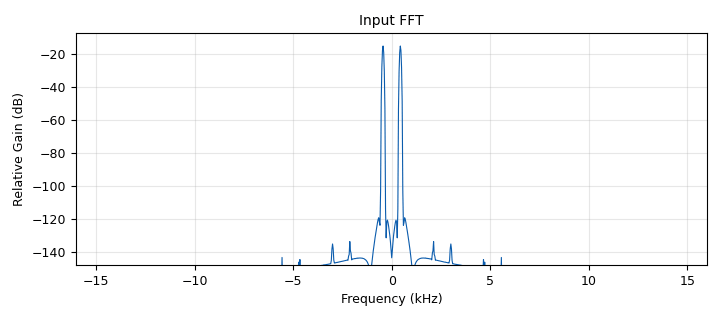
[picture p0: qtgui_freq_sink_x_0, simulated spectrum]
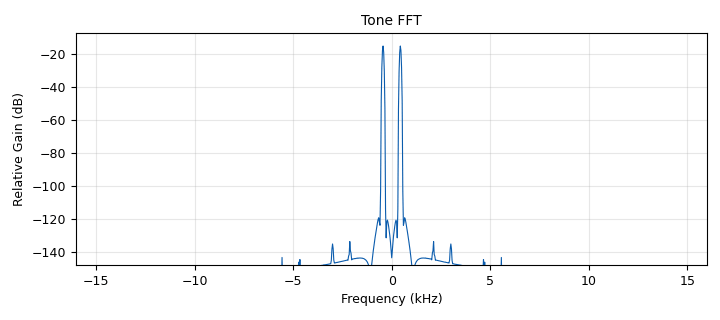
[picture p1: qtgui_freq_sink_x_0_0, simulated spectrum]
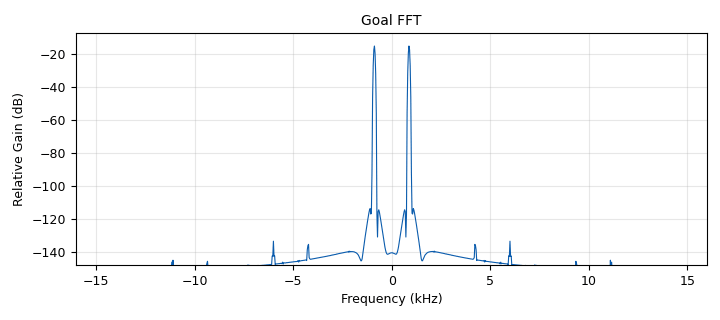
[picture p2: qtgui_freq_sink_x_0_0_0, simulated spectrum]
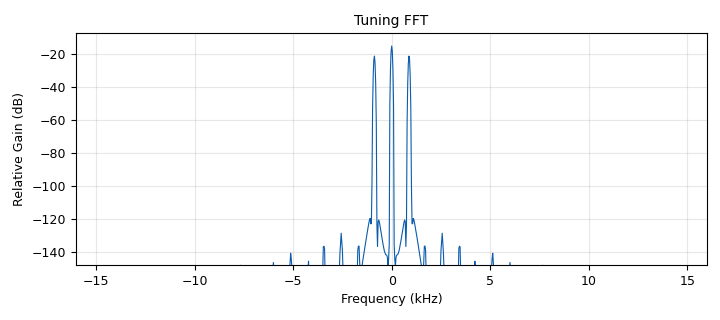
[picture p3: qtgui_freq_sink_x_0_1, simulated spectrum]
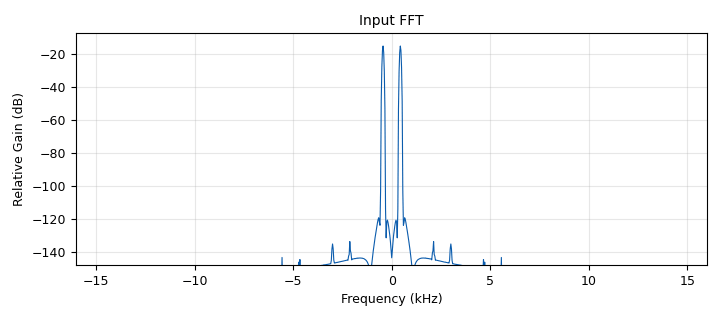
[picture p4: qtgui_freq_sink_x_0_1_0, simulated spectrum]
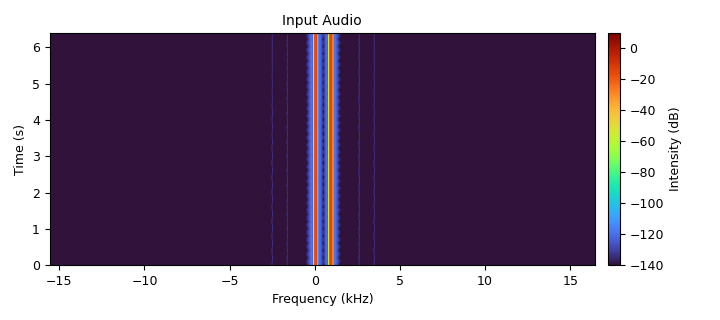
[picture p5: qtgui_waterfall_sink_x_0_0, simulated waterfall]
options:
  parameters:
    author: OWATT
    generate_options: qt_gui
    id: violin_resynth
    output_language: python
    title: Violin Resynthesizer
  states: {}

blocks:
- name: fft_size
  id: variable
  parameters:
    value: '1024'
  states: {}
- name: note_freq
  id: variable
  parameters:
    value: note_freq_base * (2 ** octave)
  states: {}
- name: note_freq_base
  id: variable_qtgui_chooser
  parameters:
    gui_hint: 1, 0, 1, 1
    label: Base Note
    labels: '["C", "C#/Db", "D", "D#/Eb", "E", "F", "F#/Gb", "G", "G#/Ab", "A", "A#/Bb", "B"]'
    num_opts: '0'
    options: '[16.35, 17.32, 18.35, 19.45, 20.60, 21.83, 23.12, 24.5, 25.96, 27.5, 29.14, 30.87]'
    orient: Qt.QHBoxLayout
    type: real
    value: '27.5'
    widget: radio_buttons
  states: {}
- name: octave
  id: variable_qtgui_chooser
  parameters:
    gui_hint: 0, 0, 1, 1
    label: Octave
    labels: '[]'
    num_opts: '0'
    options: '[0, 1, 2, 3, 4, 5, 6, 7, 8]'
    orient: Qt.QHBoxLayout
    type: real
    value: '4'
    widget: radio_buttons
  states: {}
- name: samp_rate
  id: variable
  parameters:
    value: '32000'
  states: {}
- name: analog_sig_source_x_0
  id: analog_sig_source_x
  parameters:
    amp: '1'
    freq: note_freq
    offset: '0'
    phase: '0'
    samp_rate: samp_rate
    type: float
    waveform: analog.GR_SIN_WAVE
  states: {}
- name: analog_sig_source_x_0_0
  id: analog_sig_source_x
  parameters:
    amp: '1'
    freq: note_freq * 2
    offset: '0'
    phase: '0'
    samp_rate: samp_rate
    type: float
    waveform: analog.GR_SIN_WAVE
  states: {}
- name: analog_sig_source_x_0_1
  id: analog_sig_source_x
  parameters:
    amp: '1'
    freq: '440'
    offset: '0'
    phase: '0'
    samp_rate: samp_rate
    type: float
    waveform: analog.GR_SIN_WAVE
  states: {}
- name: audio_sink_0
  id: audio_sink
  parameters:
    samp_rate: '500'
  states: {}
- name: audio_source_0
  id: audio_source
  parameters:
    samp_rate: samp_rate
  states: {state: disabled}
- name: blocks_multiply_xx_0
  id: blocks_multiply_xx
  parameters:
    type: float
  states: {}
- name: blocks_wavfile_sink_0
  id: blocks_wavfile_sink
  parameters:
    bits_per_sample1: FORMAT_PCM_16
    file: C:\Users\OWATT\Documents\Random\test1
    format: FORMAT_WAV
    samp_rate: samp_rate
  states: {state: disabled}
- name: qtgui_freq_sink_x_0
  id: qtgui_freq_sink_x
  parameters:
    autoscale: 'True'
    bw: samp_rate
    fc: '0'
    fftsize: '1024'
    name: '"Input FFT"'
    type: float
  states: {}
- name: qtgui_freq_sink_x_0_0
  id: qtgui_freq_sink_x
  parameters:
    autoscale: 'True'
    bw: samp_rate
    color1: '"magenta"'
    fc: '0'
    fftsize: '1024'
    name: '"Tone FFT"'
    type: float
  states: {}
- name: qtgui_freq_sink_x_0_0_0
  id: qtgui_freq_sink_x
  parameters:
    autoscale: 'True'
    bw: samp_rate
    color1: '"dark blue"'
    ctrlpanel: 'True'
    fc: '0'
    fftsize: '1024'
    name: '"Goal FFT"'
    type: float
  states: {}
- name: qtgui_freq_sink_x_0_1
  id: qtgui_freq_sink_x
  parameters:
    autoscale: 'True'
    bw: samp_rate
    color1: '"yellow"'
    fc: '0'
    fftsize: '1024'
    name: '"Tuning FFT"'
    type: float
  states: {}
- name: qtgui_freq_sink_x_0_1_0
  id: qtgui_freq_sink_x
  parameters:
    autoscale: 'True'
    bw: samp_rate
    fc: '0'
    fftsize: '1024'
    name: '"Input FFT"'
    type: float
  states: {}
- name: qtgui_grbackground_0
  id: qtgui_grbackground
  parameters: {}
  states: {state: disabled}
- name: qtgui_waterfall_sink_x_0
  id: qtgui_waterfall_sink_x
  parameters:
    bw: samp_rate
    fc: note_freq
    fftsize: '1024'
    name: '"Generated Tone"'
    type: float
    update_time: '0.001'
  states: {state: disabled}
- name: qtgui_waterfall_sink_x_0_0
  id: qtgui_waterfall_sink_x
  parameters:
    bw: samp_rate
    fc: note_freq
    fftsize: '1024'
    name: '"Input Audio"'
    type: float
    update_time: '0.01'
  states: {}

connections:
- [analog_sig_source_x_0, '0', audio_sink_0, '0']
- [analog_sig_source_x_0, '0', blocks_multiply_xx_0, '0']
- [analog_sig_source_x_0, '0', qtgui_freq_sink_x_0_0, '0']
- [analog_sig_source_x_0, '0', qtgui_waterfall_sink_x_0, '0']
- [analog_sig_source_x_0_0, '0', qtgui_freq_sink_x_0_0_0, '0']
- [analog_sig_source_x_0_1, '0', blocks_multiply_xx_0, '1']
- [analog_sig_source_x_0_1, '0', qtgui_freq_sink_x_0, '0']
- [analog_sig_source_x_0_1, '0', qtgui_freq_sink_x_0_1_0, '0']
- [analog_sig_source_x_0_1, '0', qtgui_waterfall_sink_x_0_0, '0']
- [audio_source_0, '0', blocks_wavfile_sink_0, '0']
- [audio_source_0, '0', qtgui_freq_sink_x_0, '0']
- [audio_source_0, '0', qtgui_waterfall_sink_x_0_0, '0']
- [blocks_multiply_xx_0, '0', qtgui_freq_sink_x_0_1, '0']

metadata:
  file_format: 1
  grc_version: 3.10.9.2
